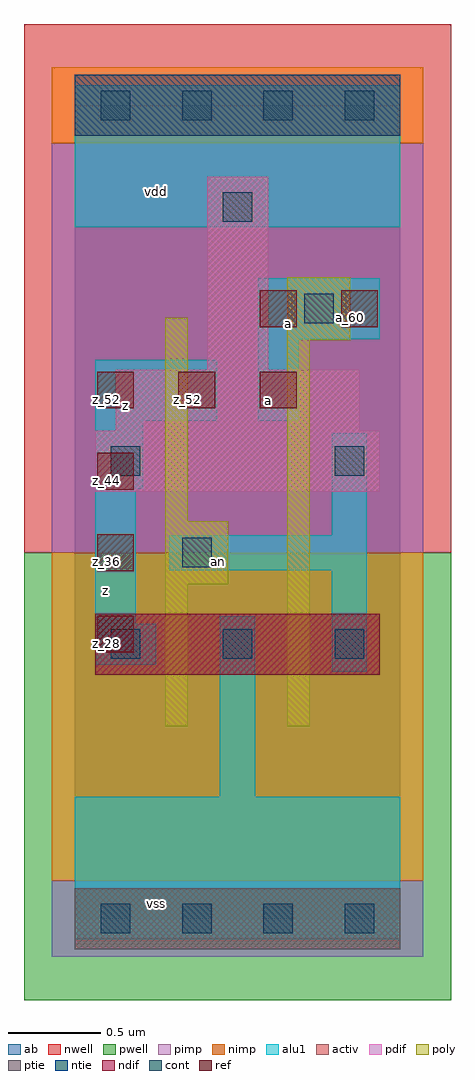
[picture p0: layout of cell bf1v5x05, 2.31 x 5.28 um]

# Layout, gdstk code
import gdstk
lib = gdstk.Library(unit=1e-6, precision=2.5e-09)
def R(c, l, rs):  # rectangles x0, y0, x1, y1
    for r in rs: c.add(gdstk.rectangle(r[:2], r[2:], *l))
def A(c, l, x, y, w, h, nx, ny, dx, dy):  # array of equal rectangles
    R(c, l, [(x+i*dx, y+j*dy, x+i*dx+w, y+j*dy+h) for i in range(nx) for j in range(ny)])
ndif = (3, 0)
pdif = (4, 0)
ntie = (5, 0)
ptie = (6, 0)
ref = (24, 0)
cont = (25, 0)
pwell = (41, 0)
nwell = (42, 0)
activ = (43, 0)
pimp = (44, 0)
nimp = (45, 0)
poly = (46, 0)
alu1 = (49, 0)
ab = (63, 0)

bf1v5x05 = lib.new_cell('bf1v5x05')
R(bf1v5x05, ndif, [(0.11,1.32,1.65,1.65)])
R(bf1v5x05, pdif, [(0.11,2.31,1.65,2.64), (0.22,2.64,1.54,2.97), (0.715,2.97,1.045,4.015)])
R(bf1v5x05, ntie, [(0,4.235,1.76,4.565)])
R(bf1v5x05, ptie, [(0,-0.165,1.76,0.165)])
A(bf1v5x05, ref, 0.12, 1.44, 0.2, 0.2, 1, 3, 0, 0.44)
A(bf1v5x05, ref, 0.12, 2.76, 0.2, 0.2, 3, 1, 0.44, 0)
R(bf1v5x05, ref, [(1,3.2,1.2,3.4), (1.44,3.2,1.64,3.4)])
A(bf1v5x05, cont, 0.14, -0.08, 0.16, 0.16, 4, 2, 0.44, 4.4)
A(bf1v5x05, cont, 0.195, 1.405, 0.16, 0.16, 3, 1, 0.605, 0)
R(bf1v5x05, cont, [(0.58,1.9,0.74,2.06), (0.195,2.395,0.355,2.555), (1.405,2.395,1.565,2.555), (1.24,3.22,1.4,3.38), (0.8,3.77,0.96,3.93)])
R(bf1v5x05, pwell, [(-0.275,-0.44,2.035,1.98)])
R(bf1v5x05, nwell, [(-0.275,1.98,2.035,4.84)])
R(bf1v5x05, activ, [(0,-0.165,1.76,0.165), (0.11,1.32,1.65,1.65), (0.11,2.31,1.65,2.64), (0.22,2.64,1.54,2.97), (0.715,2.97,1.045,4.015), (0,4.235,1.76,4.565)])
R(bf1v5x05, pimp, [(-0.125,-0.205,1.885,0.205), (-0.125,1.98,1.885,4.195)])
R(bf1v5x05, nimp, [(-0.125,0.205,1.885,1.98), (-0.125,4.195,1.885,4.605)])
R(bf1v5x05, poly, [(0.49,1.04,0.61,1.81), (1.15,1.04,1.27,3.13), (0.49,1.81,0.83,2.15), (0.49,2.15,0.61,3.25), (1.15,3.13,1.49,3.47)])
R(bf1v5x05, alu1, [(0,-0.11,1.76,0.66), (0.785,0.66,0.975,1.635), (1.39,1.335,1.58,1.885), (0.11,1.375,0.44,1.595), (0.11,1.595,0.33,2.325), (0.51,1.885,1.58,2.075), (1.39,2.075,1.58,2.625), (0.11,2.325,0.37,2.695), (0.11,2.695,0.77,3.025), (0.99,2.695,1.21,3.135), (0.99,3.135,1.65,3.465), (0,3.74,1.76,4.51)])
R(bf1v5x05, ab, [(0,0,1.76,4.4)])
bf1v5x05.add(gdstk.Label('vss', (0.44,0.0825), layer=49, texttype=0))
bf1v5x05.add(gdstk.Label('an', (0.7775,1.9325), layer=49, texttype=0))
bf1v5x05.add(gdstk.Label('z', (0.165,1.7775), layer=49, texttype=0))
bf1v5x05.add(gdstk.Label('a', (1.045,2.805), layer=49, texttype=0))
bf1v5x05.add(gdstk.Label('z', (0.275,2.7775), layer=49, texttype=0))
bf1v5x05.add(gdstk.Label('a', (1.155,3.2175), layer=49, texttype=0))
bf1v5x05.add(gdstk.Label('vdd', (0.44,3.9325), layer=49, texttype=0))
bf1v5x05.add(gdstk.Label('z_52', (0.61,2.81), layer=24, texttype=0))
bf1v5x05.add(gdstk.Label('a_52', (1.05,2.81), layer=24, texttype=0))
bf1v5x05.add(gdstk.Label('a_60', (1.05,3.25), layer=24, texttype=0))
bf1v5x05.add(gdstk.Label('a_60', (1.49,3.25), layer=24, texttype=0))
bf1v5x05.add(gdstk.Label('z_28', (0.17,1.49), layer=24, texttype=0))
bf1v5x05.add(gdstk.Label('z_36', (0.17,1.93), layer=24, texttype=0))
bf1v5x05.add(gdstk.Label('z_44', (0.17,2.37), layer=24, texttype=0))
bf1v5x05.add(gdstk.Label('z_52', (0.17,2.81), layer=24, texttype=0))

lib.write_gds('bf1v5x05.gds')
